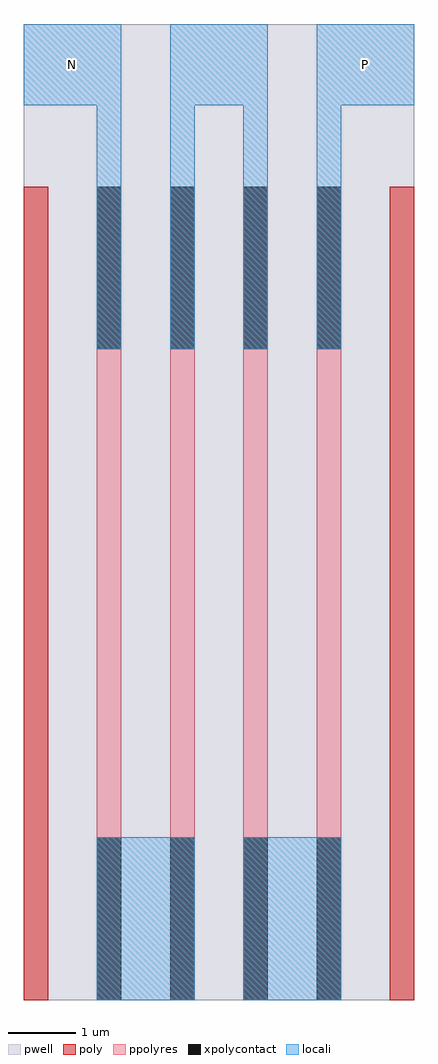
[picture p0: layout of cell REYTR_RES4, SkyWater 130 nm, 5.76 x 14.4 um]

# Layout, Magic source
magic
tech sky130A
magscale 1 2
<< ppolyres >>
rect 180 -120 252 120
rect 396 -120 468 120
rect 612 -120 684 120
rect 828 -120 900 120
rect 180 120 252 360
rect 396 120 468 360
rect 612 120 684 360
rect 828 120 900 360
rect 180 360 252 600
rect 396 360 468 600
rect 612 360 684 600
rect 828 360 900 600
rect 180 600 252 840
rect 396 600 468 840
rect 612 600 684 840
rect 828 600 900 840
rect 180 840 252 1080
rect 396 840 468 1080
rect 612 840 684 1080
rect 828 840 900 1080
rect 180 1080 252 1320
rect 396 1080 468 1320
rect 612 1080 684 1320
rect 828 1080 900 1320
rect 180 1320 252 1560
rect 396 1320 468 1560
rect 612 1320 684 1560
rect 828 1320 900 1560
rect 180 1560 252 1800
rect 396 1560 468 1800
rect 612 1560 684 1800
rect 828 1560 900 1800
rect 180 1800 252 2040
rect 396 1800 468 2040
rect 612 1800 684 2040
rect 828 1800 900 2040
rect 180 2040 252 2280
rect 396 2040 468 2280
rect 612 2040 684 2280
rect 828 2040 900 2280
<< poly >>
rect -36 -120 36 120
rect 1044 -120 1116 120
rect -36 120 36 360
rect 1044 120 1116 360
rect -36 360 36 600
rect 1044 360 1116 600
rect -36 600 36 840
rect 1044 600 1116 840
rect -36 840 36 1080
rect 1044 840 1116 1080
rect -36 1080 36 1320
rect 1044 1080 1116 1320
rect -36 1320 36 1560
rect 1044 1320 1116 1560
rect -36 1560 36 1800
rect 1044 1560 1116 1800
rect -36 1800 36 2040
rect 1044 1800 1116 2040
rect -36 2040 36 2280
rect 1044 2040 1116 2280
<< xpolycontact >>
rect 180 -120 252 120
rect 396 -120 468 120
rect 612 -120 684 120
rect 828 -120 900 120
rect 180 120 252 360
rect 396 120 468 360
rect 612 120 684 360
rect 828 120 900 360
rect 180 1800 252 2040
rect 396 1800 468 2040
rect 612 1800 684 2040
rect 828 1800 900 2040
rect 180 2040 252 2280
rect 396 2040 468 2280
rect 612 2040 684 2280
rect 828 2040 900 2280
<< locali >>
rect 180 -120 468 120
rect 612 -120 900 120
rect 180 120 468 360
rect 612 120 900 360
rect 180 1800 252 2040
rect 396 1800 468 2040
rect 612 1800 684 2040
rect 828 1800 900 2040
rect 180 2040 252 2280
rect 396 2040 468 2280
rect 612 2040 684 2280
rect 828 2040 900 2280
rect 180 2280 252 2520
rect 396 2280 468 2520
rect 612 2280 684 2520
rect 828 2280 900 2520
rect -36 2520 252 2760
rect -36 2520 252 2760
rect 396 2520 684 2760
rect 828 2520 1116 2760
rect 828 2520 1116 2760
<< pwell >>
rect -36 -120 1116 2760
<< labels >>
flabel locali s -36 2520 252 2760 0 FreeSans 400 0 0 0 N
port 1 nsew signal bidirectional
flabel locali s 828 2520 1116 2760 0 FreeSans 400 0 0 0 P
port 2 nsew signal bidirectional
<< properties >>
string FIXED_BBOX 0 0 1080 2640
<< end >>
